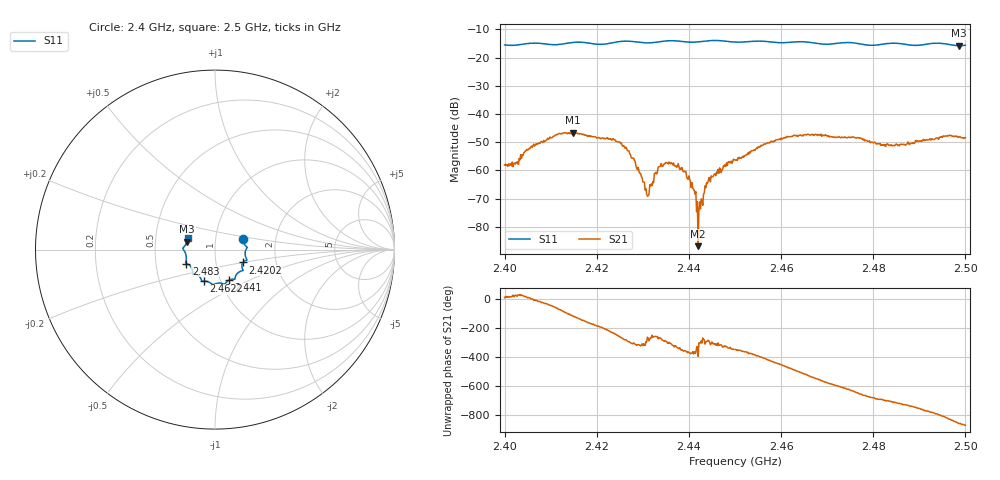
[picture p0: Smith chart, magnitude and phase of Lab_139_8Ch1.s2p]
# Hz S RI R 50
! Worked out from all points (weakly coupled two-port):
!   601 points, 2.4 GHz to 2.5 GHz, reference 50 ohm
!   highest |S21| = -46.60 dB at 2.4148 GHz (marker M1); lowest = -86.9 dB at 2.442 GHz (marker M2)
!   lowest |S11| = -15.8 dB at 2.4987 GHz (marker M3), VSWR 1.39, Z = 36.4 + j3.29 ohm
!   |S11| at or under -10 dB: start of sweep to end of sweep
!   S12 and S22 are empty: the file has one direction only
!   S11 on the Smith chart (normalised r, x): 2.4 GHz: 1.36, +0.17; 2.4202 GHz: 1.35, -0.20; 2.441 GHz: 1.10, -0.39; 2.4622 GHz: 0.83, -0.30; 2.483 GHz: 0.72, -0.12; 2.5 GHz: 0.73, +0.09
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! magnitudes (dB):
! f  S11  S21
! 2.4 GHz  -15.5  -58.2
! 2.4025 GHz  -15.6  -57.2
! 2.4113 GHz  -15.4  -47.3
! 2.4148 GHz  -14.6  -46.6
! 2.4167 GHz  -14.6  -47.2
! 2.4202 GHz  -15.3  -48.5
! 2.4265 GHz  -14.2  -52.3
! 2.4308 GHz  -14.8  -68.5
! 2.4333 GHz  -14.4  -58.9
! 2.4352 GHz  -14.1  -57.3
! 2.438 GHz  -14.2  -59.7
! 2.441 GHz  -14.6  -66.7
! 2.442 GHz  -14.4  -86.9
! 2.4425 GHz  -14.4  -73.7
! 2.4443 GHz  -14.0  -62.6
! 2.45 GHz  -14.5  -56.4
! 2.4622 GHz  -14.6  -48.0
! 2.4667 GHz  -14.7  -47.4
! 2.483 GHz  -15.0  -50.6
! 2.4833 GHz  -15.0  -51.1
! 2.4987 GHz  -15.8  -48.1
! 2.5 GHz  -15.6  -48.4
